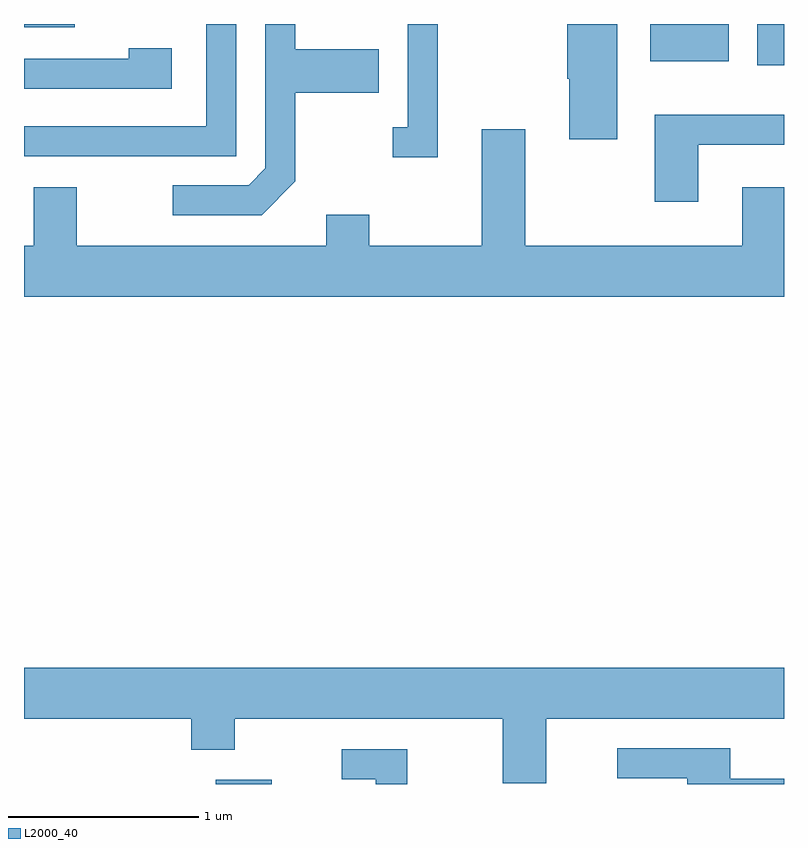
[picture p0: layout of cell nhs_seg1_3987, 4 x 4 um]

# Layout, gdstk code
import gdstk
lib = gdstk.Library(unit=1e-6, precision=1e-09)
def R(c, l, rs):  # rectangles x0, y0, x1, y1
    for r in rs: c.add(gdstk.rectangle(r[:2], r[2:], *l))
def P(c, l, *ps):  # polygons
    for p in ps: c.add(gdstk.Polygon(p, *l))
L2000_40 = (2000, 40)

nhs_seg1_3987 = lib.new_cell('nhs_seg1_3987')
R(nhs_seg1_3987, L2000_40, [(306.621,863.712,306.914,863.734), (309.471,867.496,309.611,867.712), (308.906,867.516,309.319,867.712), (305.611,867.696,305.878,867.712)])
P(nhs_seg1_3987, L2000_40, [(308.734,867.712),(308.471,867.712),(308.471,867.425),(308.481,867.425),(308.481,867.106),(308.734,867.106)],
  [(307.039,866.884),(307.039,867.351),(307.479,867.351),(307.479,867.579),(307.039,867.579),(307.039,867.712),(306.881,867.712),(306.881,866.952),(306.794,866.864),(306.393,866.864),(306.393,866.706),(306.862,866.706)],
  [(307.789,867.712),(307.631,867.712),(307.631,867.169),(307.553,867.169),(307.553,867.011),(307.789,867.011)],
  [(306.729,867.712),(306.571,867.712),(306.571,867.174),(305.611,867.174),(305.611,867.016),(306.729,867.016)],
  [(306.389,867.584),(306.161,867.584),(306.161,867.529),(305.611,867.529),(305.611,867.371),(306.389,867.371)],
  [(309.159,867.076),(309.611,867.076),(309.611,867.234),(308.931,867.234),(308.931,866.776),(309.159,866.776)],
  [(309.611,866.854),(309.391,866.854),(309.391,866.544),(308.249,866.544),(308.249,867.159),(308.021,867.159),(308.021,866.544),(307.429,866.544),(307.429,866.709),(307.201,866.709),(307.201,866.544),(305.889,866.544),(305.889,866.854),(305.661,866.854),(305.661,866.544),(305.611,866.544),(305.611,866.276),(309.611,866.276)],
  [(305.611,864.056),(306.491,864.056),(306.491,863.891),(306.719,863.891),(306.719,864.056),(308.131,864.056),(308.131,863.716),(308.359,863.716),(308.359,864.056),(309.611,864.056),(309.611,864.324),(305.611,864.324)],
  [(309.611,863.739),(309.329,863.739),(309.329,863.899),(308.733,863.899),(308.733,863.741),(309.101,863.741),(309.101,863.712),(309.611,863.712)],
  [(307.629,863.894),(307.283,863.894),(307.283,863.736),(307.461,863.736),(307.461,863.712),(307.629,863.712)])

lib.write_gds('nhs_seg1_3987.gds')
